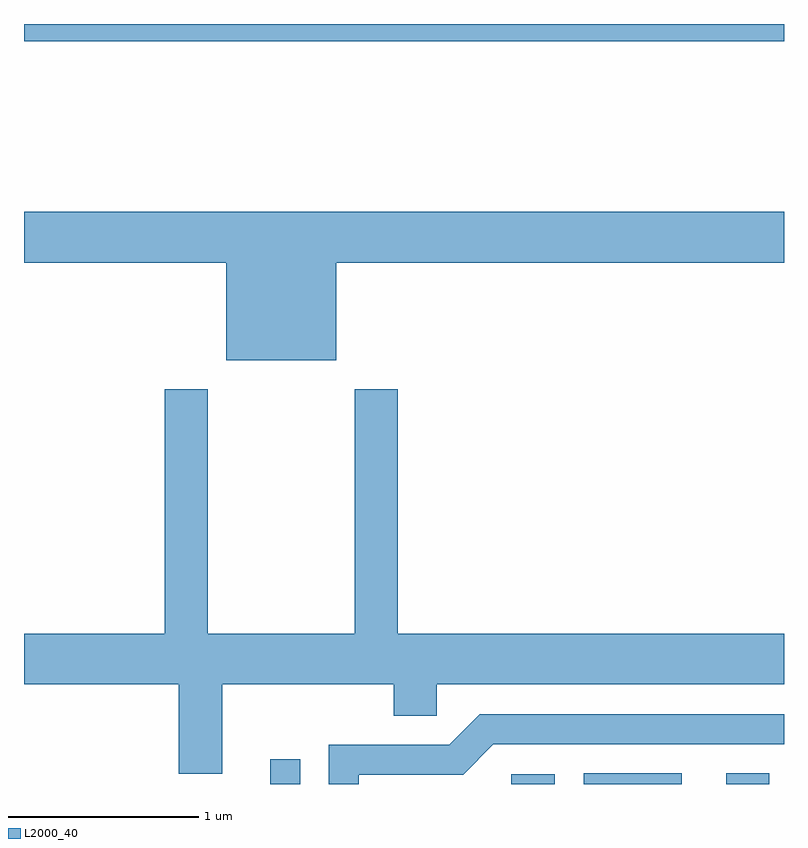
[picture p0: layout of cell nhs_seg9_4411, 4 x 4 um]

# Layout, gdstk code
import gdstk
lib = gdstk.Library(unit=1e-6, precision=1e-09)
def R(c, l, rs):  # rectangles x0, y0, x1, y1
    for r in rs: c.add(gdstk.rectangle(r[:2], r[2:], *l))
def P(c, l, *ps):  # polygons
    for p in ps: c.add(gdstk.Polygon(p, *l))
L2000_40 = (2000, 40)

nhs_seg9_4411 = lib.new_cell('nhs_seg9_4411')
R(nhs_seg9_4411, L2000_40, [(316.906,1962.432,317.064,1962.563), (318.176,1962.432,318.404,1962.484), (318.556,1962.432,319.074,1962.489), (319.306,1962.432,319.534,1962.489), (315.611,1966.341,319.611,1966.432)])
P(nhs_seg9_4411, L2000_40, [(317.254,1965.176),(319.611,1965.176),(319.611,1965.444),(315.611,1965.444),(315.611,1965.176),(316.676,1965.176),(316.676,1964.661),(317.254,1964.661)],
  [(316.654,1962.956),(317.556,1962.956),(317.556,1962.791),(317.784,1962.791),(317.784,1962.956),(319.611,1962.956),(319.611,1963.224),(317.579,1963.224),(317.579,1964.509),(317.351,1964.509),(317.351,1963.224),(316.579,1963.224),(316.579,1964.509),(316.351,1964.509),(316.351,1963.224),(315.611,1963.224),(315.611,1962.956),(316.426,1962.956),(316.426,1962.486),(316.654,1962.486)],
  [(317.374,1962.481),(317.922,1962.481),(318.082,1962.641),(319.611,1962.641),(319.611,1962.799),(318.009,1962.799),(317.849,1962.639),(317.216,1962.639),(317.216,1962.432),(317.374,1962.432)])

lib.write_gds('nhs_seg9_4411.gds')
